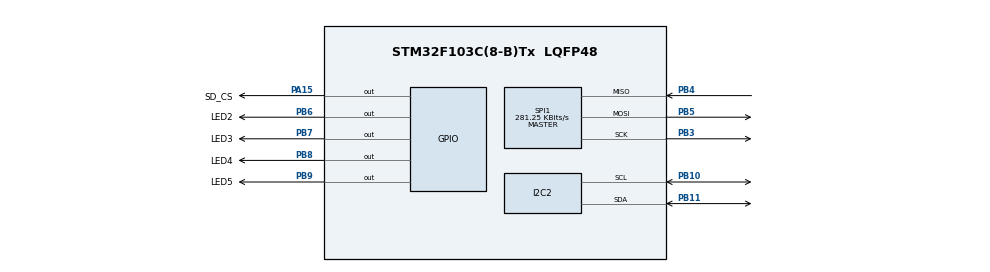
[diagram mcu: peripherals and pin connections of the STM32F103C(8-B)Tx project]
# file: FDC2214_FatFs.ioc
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I2C2.I2C_Mode=I2C_Fast
Mcu.Family=STM32F1
Mcu.Name=STM32F103C(8-B)Tx
Mcu.Package=LQFP48
NVIC.PriorityGroup=NVIC_PRIORITYGROUP_4
PA13.Mode=Serial_Wire
PA13.Signal=SYS_JTMS-SWDIO
PA14.Mode=Serial_Wire
PA14.Signal=SYS_JTCK-SWCLK
PA15.GPIO_Label=SD_CS
PA15.GPIO_Speed=GPIO_SPEED_FREQ_HIGH
PA15.Signal=GPIO_Output
PB10.Mode=I2C
PB10.Signal=I2C2_SCL
PB11.Mode=I2C
PB11.Signal=I2C2_SDA
PB3.Mode=Full_Duplex_Master
PB3.Signal=SPI1_SCK
PB4.Mode=Full_Duplex_Master
PB4.Signal=SPI1_MISO
PB5.Mode=Full_Duplex_Master
PB5.Signal=SPI1_MOSI
PB6.GPIO_Label=LED2
PB6.GPIO_Speed=GPIO_SPEED_FREQ_HIGH
PB6.PinState=GPIO_PIN_SET
PB6.Signal=GPIO_Output
PB7.GPIO_Label=LED3
PB7.GPIO_Speed=GPIO_SPEED_FREQ_HIGH
PB7.PinState=GPIO_PIN_SET
PB7.Signal=GPIO_Output
PB8.GPIO_Label=LED4
PB8.GPIO_Speed=GPIO_SPEED_FREQ_HIGH
PB8.PinState=GPIO_PIN_SET
PB8.Signal=GPIO_Output
PB9.GPIO_Label=LED5
PB9.GPIO_Speed=GPIO_SPEED_FREQ_HIGH
PB9.PinState=GPIO_PIN_SET
PB9.Signal=GPIO_Output
PD0-OSC_IN.Mode=HSE-External-Oscillator
PD0-OSC_IN.Signal=RCC_OSC_IN
PD1-OSC_OUT.Mode=HSE-External-Oscillator
PD1-OSC_OUT.Signal=RCC_OSC_OUT
ProjectManager.HeapSize=0x200
ProjectManager.StackSize=0x400
ProjectManager.TargetToolchain=MDK-ARM V5
RCC.AHBFreq_Value=72000000
RCC.APB1CLKDivider=RCC_HCLK_DIV2
RCC.APB1Freq_Value=36000000
RCC.APB1TimFreq_Value=72000000
RCC.APB2Freq_Value=72000000
RCC.APB2TimFreq_Value=72000000
RCC.EnbaleCSS=true
RCC.HCLKFreq_Value=72000000
RCC.HSE_VALUE=12000000
RCC.PLLMUL=RCC_PLL_MUL6
RCC.PLLSourceVirtual=RCC_PLLSOURCE_HSE
RCC.PREFETCH_ENABLE=1
RCC.SYSCLKFreq_VALUE=72000000
RCC.SYSCLKSource=RCC_SYSCLKSOURCE_PLLCLK
RCC.USBFreq_Value=72000000
SPI1.BaudRatePrescaler=SPI_BAUDRATEPRESCALER_256
SPI1.CLKPhase=SPI_PHASE_2EDGE
SPI1.CLKPolarity=SPI_POLARITY_HIGH
SPI1.CalculateBaudRate=281.25 KBits/s
SPI1.Direction=SPI_DIRECTION_2LINES
SPI1.Mode=SPI_MODE_MASTER
SPI1.VirtualType=VM_MASTER
VP_FATFS_VS_Generic.Mode=User_defined
board=custom

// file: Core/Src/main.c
/* USER CODE BEGIN Header */
/**
  ******************************************************************************
  * @file           : main.c
  * @brief          : Main program body
  ******************************************************************************
  * This notice applies to any and all portions of this file
  * that are not between comment pairs USER CODE BEGIN and
  * USER CODE END. Other portions of this file, whether
  * inserted by the user or by software development tools
  * are owned by their respective copyright owners.
  *
  * Copyright (c) 2018 STMicroelectronics International N.V.
  * All rights reserved.
  *
  * Redistribution and use in source and binary forms, with or without
  * modification, are permitted, provided that the following conditions are met:
  *
  * 1. Redistribution of source code must retain the above copyright notice,
  *    this list of conditions and the following disclaimer.
  * 2. Redistributions in binary form must reproduce the above copyright notice,
  *    this list of conditions and the following disclaimer in the documentation
  *    and/or other materials provided with the distribution.
  * 3. Neither the name of STMicroelectronics nor the names of other
  *    contributors to this software may be used to endorse or promote products
  *    derived from this software without specific written permission.
  * 4. This software, including modifications and/or derivative works of this
  *    software, must execute solely and exclusively on microcontroller or
  *    microprocessor devices manufactured by or for STMicroelectronics.
  * 5. Redistribution and use of this software other than as permitted under
  *    this license is void and will automatically terminate your rights under
  *    this license.
  *
  * THIS SOFTWARE IS PROVIDED BY STMICROELECTRONICS AND CONTRIBUTORS "AS IS"
  * AND ANY EXPRESS, IMPLIED OR STATUTORY WARRANTIES, INCLUDING, BUT NOT
  * LIMITED TO, THE IMPLIED WARRANTIES OF MERCHANTABILITY, FITNESS FOR A
  * PARTICULAR PURPOSE AND NON-INFRINGEMENT OF THIRD PARTY INTELLECTUAL PROPERTY
  * RIGHTS ARE DISCLAIMED TO THE FULLEST EXTENT PERMITTED BY LAW. IN NO EVENT
  * SHALL STMICROELECTRONICS OR CONTRIBUTORS BE LIABLE FOR ANY DIRECT, INDIRECT,
  * INCIDENTAL, SPECIAL, EXEMPLARY, OR CONSEQUENTIAL DAMAGES (INCLUDING, BUT NOT
  * LIMITED TO, PROCUREMENT OF SUBSTITUTE GOODS OR SERVICES; LOSS OF USE, DATA,
  * OR PROFITS; OR BUSINESS INTERRUPTION) HOWEVER CAUSED AND ON ANY THEORY OF
  * LIABILITY, WHETHER IN CONTRACT, STRICT LIABILITY, OR TORT (INCLUDING
  * NEGLIGENCE OR OTHERWISE) ARISING IN ANY WAY OUT OF THE USE OF THIS SOFTWARE,
  * EVEN IF ADVISED OF THE POSSIBILITY OF SUCH DAMAGE.
  *
  ******************************************************************************
  */
/* USER CODE END Header */

#include "main.h"
#include "fatfs.h"
#include "i2c.h"
#include "spi.h"
#include "gpio.h"

/* USER CODE BEGIN Includes */
#include "stdlib.h"
#include "string.h"

#include "BSP_FDC2214.h"
/* USER CODE END Includes */

/* USER CODE BEGIN PV */
FRESULT Res;
char  Fat_Wdata[1024]={0};
char  Data_buf[16]={0};
uint32_t byteswritten, bytesread;                     /* File write/read counts */

uint16_t Fat_index=0;
/* USER CODE END PV */

void SystemClock_Config(void);

int main(void)
{

  /* MCU Configuration--------------------------------------------------------*/

  /* Reset of all peripherals, Initializes the Flash interface and the Systick. */
  HAL_Init();

  /* Configure the system clock */
  SystemClock_Config();

  /* Initialize all configured peripherals */
  MX_GPIO_Init();
  MX_SPI1_Init();
  MX_FATFS_Init();
  MX_I2C2_Init();
  /* USER CODE BEGIN 2 */

  FDC2214_Init();
		Res=f_mount( &USERFatFS,(const TCHAR*)USERPath,1);
		if( Res!= FR_OK )
		{
		 while(1);
		}

  /* USER CODE END 2 */

  /* Infinite loop */
  /* USER CODE BEGIN WHILE */
  while (1)
  {
			 for(Fat_index=0;Fat_index<50;Fat_index++)
				{
					sprintf( Data_buf,"%10.10f\n",FDC2214_Calculate_Cap( FCD2214_GetCap_Data(0) ));
					strcat((char *)Fat_Wdata,(char *)Data_buf);
				}

				Res=f_open( &USERFile,"Record.txt",FA_CREATE_ALWAYS | FA_WRITE);
				if( Res!= FR_OK )
			 {
				while(1);
				}
			 Res = f_write(&USERFile, Fat_Wdata, sizeof(Fat_Wdata), (void *)&byteswritten);
				if( Res!= FR_OK )
				{
					while(1);
				}
				f_close(&USERFile);
    /* USER CODE END WHILE */

  }
}

void SystemClock_Config(void)
{
  LL_FLASH_SetLatency(LL_FLASH_LATENCY_2);

   if(LL_FLASH_GetLatency() != LL_FLASH_LATENCY_2)
  {
    Error_Handler();
  }
  LL_RCC_HSE_Enable();

   /* Wait till HSE is ready */
  while(LL_RCC_HSE_IsReady() != 1)
  {

  }
  LL_RCC_HSE_EnableCSS();
  LL_RCC_PLL_ConfigDomain_SYS(LL_RCC_PLLSOURCE_HSE_DIV_1, LL_RCC_PLL_MUL_6);
  LL_RCC_PLL_Enable();

   /* Wait till PLL is ready */
  while(LL_RCC_PLL_IsReady() != 1)
  {

  }
  LL_RCC_SetAHBPrescaler(LL_RCC_SYSCLK_DIV_1);
  LL_RCC_SetAPB1Prescaler(LL_RCC_APB1_DIV_2);
  LL_RCC_SetAPB2Prescaler(LL_RCC_APB2_DIV_1);
  LL_RCC_SetSysClkSource(LL_RCC_SYS_CLKSOURCE_PLL);

   /* Wait till System clock is ready */
  while(LL_RCC_GetSysClkSource() != LL_RCC_SYS_CLKSOURCE_STATUS_PLL)
  {

  }
  LL_Init1msTick(72000000);
  LL_SYSTICK_SetClkSource(LL_SYSTICK_CLKSOURCE_HCLK);
  LL_SetSystemCoreClock(72000000);
}

void Error_Handler(void)
{
}

/************************ (C) COPYRIGHT STMicroelectronics *****END OF FILE****/
